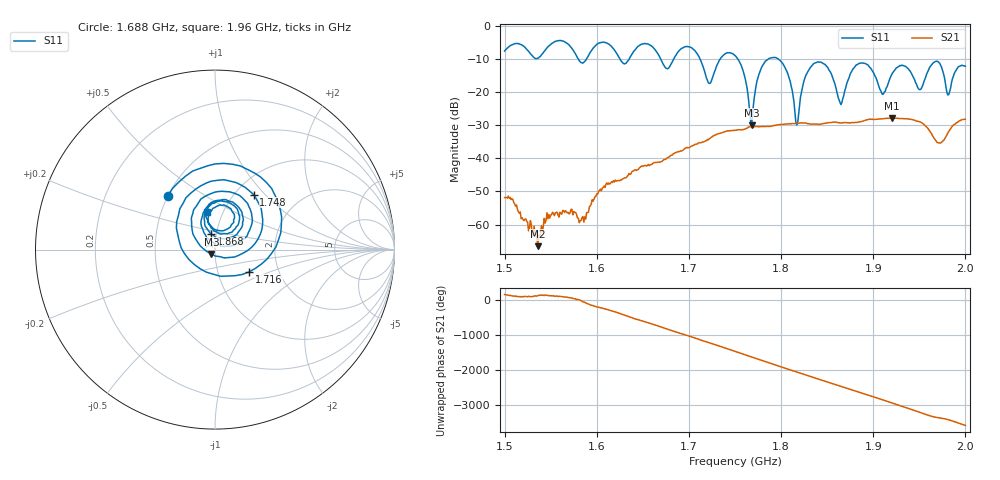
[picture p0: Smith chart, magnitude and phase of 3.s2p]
! NanoVNA-App by SYSJOINT et al v1.1.209 (+OD18)
! Date: 2026-01-21 14:52:35
! Start: 1,5GHz Stop: 2GHz Points: 501
! S-Parameter data: F S11 S21 S12 S22
# Hz S RI R 50
!  Frequency  S11_Real  S11_Imag  S21_Real  S21_Imag  S12_Real  S12_Imag  S22_Real  S22_Imag
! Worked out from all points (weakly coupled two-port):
!   501 points, 1.5 GHz to 2 GHz, reference 50 ohm
!   highest |S21| = -27.88 dB at 1.92 GHz (marker M1); lowest = -66.5 dB at 1.536 GHz (marker M2)
!   lowest |S11| = -30.0 dB at 1.768 GHz (marker M3), VSWR 1.07, Z = 48 - j2.36 ohm
!   |S11| at or under -10 dB: 1.712 GHz to 1.734 GHz (22.17 MHz wide, 1.29 % of centre); 1.753 GHz to 1.786 GHz (33.6 MHz wide, 1.9 % of centre); 1.797 GHz to end of sweep (the widest 3 of 6)
!   S12 and S22 are empty: the file has one direction only
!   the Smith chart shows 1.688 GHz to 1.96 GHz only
!   S11 on the Smith chart (normalised r, x): 1.688 GHz: 0.50, +0.36; 1.716 GHz: 1.41, -0.37; 1.748 GHz: 1.21, +0.87; 1.868 GHz: 0.94, +0.16; 1.96 GHz: 0.84, +0.37
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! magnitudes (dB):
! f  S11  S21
! 1.5 GHz  -7.7  -51.9
! 1.536 GHz  -9.8  -66.5
! 1.561 GHz  -4.5  -56.7
! 1.584 GHz  -11.2  -57.9
! 1.667 GHz  -8.8  -41.2
! 1.688 GHz  -8.0  -38.1
! 1.716 GHz  -12.9  -35.0
! 1.748 GHz  -8.5  -31.7
! 1.75 GHz  -9.0  -31.5
! 1.768 GHz  -30.0  -30.4
! 1.785 GHz  -10.3  -30.4
! 1.805 GHz  -13.0  -29.7
! 1.817 GHz  -29.9  -29.4
! 1.834 GHz  -11.8  -29.7
! 1.868 GHz  -21.1  -29.3
! 1.886 GHz  -11.3  -29.0
! 1.917 GHz  -16.9  -27.9
! 1.92 GHz  -14.8  -27.9
! 1.96 GHz  -13.4  -31.2
! 1.971 GHz  -11.1  -35.4
! 1.982 GHz  -20.8  -31.9
! 2 GHz  -12.2  -28.2
